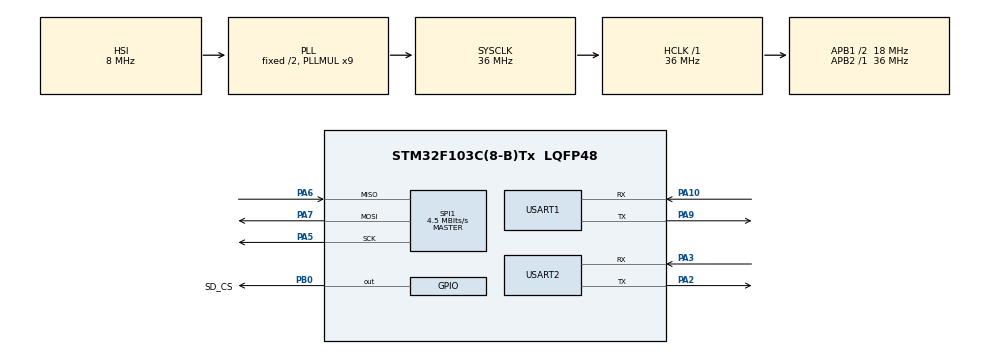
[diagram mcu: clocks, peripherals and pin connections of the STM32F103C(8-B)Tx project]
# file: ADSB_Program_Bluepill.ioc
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FATFS._MAX_SS=4096
FATFS._USE_LFN=1
Mcu.Family=STM32F1
Mcu.Name=STM32F103C(8-B)Tx
Mcu.Package=LQFP48
NVIC.PriorityGroup=NVIC_PRIORITYGROUP_4
PA10.Mode=Asynchronous
PA10.Signal=USART1_RX
PA13.Mode=Serial_Wire
PA13.Signal=SYS_JTMS-SWDIO
PA14.Mode=Serial_Wire
PA14.Signal=SYS_JTCK-SWCLK
PA2.Mode=Asynchronous
PA2.Signal=USART2_TX
PA3.Mode=Asynchronous
PA3.Signal=USART2_RX
PA5.Mode=Full_Duplex_Master
PA5.Signal=SPI1_SCK
PA6.Mode=Full_Duplex_Master
PA6.Signal=SPI1_MISO
PA7.Mode=Full_Duplex_Master
PA7.Signal=SPI1_MOSI
PA9.Mode=Asynchronous
PA9.Signal=USART1_TX
PB0.GPIO_Label=SD_CS
PB0.Signal=GPIO_Output
ProjectManager.HeapSize=0x200
ProjectManager.StackSize=0x400
ProjectManager.TargetToolchain=STM32CubeIDE
RCC.AHBFreq_Value=36000000
RCC.APB1CLKDivider=RCC_HCLK_DIV2
RCC.APB1Freq_Value=18000000
RCC.APB1TimFreq_Value=36000000
RCC.APB2Freq_Value=36000000
RCC.APB2TimFreq_Value=36000000
RCC.HCLKFreq_Value=36000000
RCC.PLLMUL=RCC_PLL_MUL9
RCC.SYSCLKFreq_VALUE=36000000
RCC.SYSCLKSource=RCC_SYSCLKSOURCE_PLLCLK
RCC.USBFreq_Value=36000000
SPI1.BaudRatePrescaler=SPI_BAUDRATEPRESCALER_8
SPI1.CalculateBaudRate=4.5 MBits/s
SPI1.Direction=SPI_DIRECTION_2LINES
SPI1.Mode=SPI_MODE_MASTER
SPI1.VirtualType=VM_MASTER
USART1.VirtualMode=VM_ASYNC
USART2.VirtualMode=VM_ASYNC
VP_FATFS_VS_Generic.Mode=User_defined
board=custom

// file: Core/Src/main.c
/* USER CODE BEGIN Header */
/**
  ******************************************************************************
  * @file           : main.c
  * @brief          : Main program body
  ******************************************************************************
  * @attention
  *
  * Copyright (c) 2022 STMicroelectronics.
  * All rights reserved.
  *
  * This software is licensed under terms that can be found in the LICENSE file
  * in the root directory of this software component.
  * If no LICENSE file comes with this software, it is provided AS-IS.
  *
  ******************************************************************************
  */
/* USER CODE END Header */
#include "main.h"
#include "fatfs.h"

/* USER CODE BEGIN Includes */
#include "fatfs_sd.h"
#include "string.h"
/* USER CODE END Includes */

SPI_HandleTypeDef hspi1;

UART_HandleTypeDef huart1;
UART_HandleTypeDef huart2;

void SystemClock_Config(void);
static void MX_GPIO_Init(void);
static void MX_SPI1_Init(void);
static void MX_USART2_UART_Init(void);
static void MX_USART1_UART_Init(void);

/* USER CODE BEGIN 0 */
FATFS fs;
FIL fil;
FRESULT fresult;
char buffer[1024];

void send_uart(char *string){
	uint8_t len = strlen(string);
	HAL_UART_Transmit(&huart1, (uint8_t *)string, len, 2000);
}

void bufclear(void){
	for(int i = 0; i<1024; i++){
		buffer[i] = '\0';
	}
}
/* USER CODE END 0 */

int main(void)
{

  /* MCU Configuration--------------------------------------------------------*/

  /* Reset of all peripherals, Initializes the Flash interface and the Systick. */
  HAL_Init();

  /* Configure the system clock */
  SystemClock_Config();

  /* Initialize all configured peripherals */
  MX_GPIO_Init();
  MX_SPI1_Init();
  MX_USART2_UART_Init();
  MX_FATFS_Init();
  MX_USART1_UART_Init();
  /* USER CODE BEGIN 2 */

  fresult = f_mount(&fs, "", 0);
  if(fresult != FR_OK)
	  send_uart("Error Mounting SD CARD...\n");
  else
	  send_uart("SD CARD mounted successfully...\n");

  f_open(&fil, "result.txt", FA_OPEN_ALWAYS | FA_READ | FA_WRITE);
  /* USER CODE END 2 */

  /* Infinite loop */
  /* USER CODE BEGIN WHILE */
  int loop = 0;
  while (loop < 50)
  {
    /* USER CODE END WHILE */
	  for(int i=0; i<256; i++)
	  	  	  {
	  	  		  buffer[i] = HAL_UART_Receive(&huart2, buffer, sizeof(buffer), 10);
	  	  		  if(buffer[i] == '\r\n')
	  	  			  break;
	  	  	  }
	  	  HAL_UART_Transmit(&huart1, buffer, sizeof(buffer), 10);
	  	  f_printf(&fil, "Receiver: '%s' \n\r", buffer);

	  	  bufclear();
	  	  loop++;
    /* USER CODE BEGIN 3 */
  }
  bufclear();

  HAL_Delay(2000);
  f_close(&fil);

  send_uart("The data is being written...\n");
  send_uart("Please wait 5-10 seconds before unplugging the SD Card\n");

  HAL_Delay(7000);
  send_uart("DONE...The data has successfully written in the SD Card\n");
  /* USER CODE END 3 */
}

void SystemClock_Config(void)
{
  RCC_OscInitTypeDef RCC_OscInitStruct = {0};
  RCC_ClkInitTypeDef RCC_ClkInitStruct = {0};

  /** Initializes the RCC Oscillators according to the specified parameters
  * in the RCC_OscInitTypeDef structure.
  */
  RCC_OscInitStruct.OscillatorType = RCC_OSCILLATORTYPE_HSI;
  RCC_OscInitStruct.HSIState = RCC_HSI_ON;
  RCC_OscInitStruct.HSICalibrationValue = RCC_HSICALIBRATION_DEFAULT;
  RCC_OscInitStruct.PLL.PLLState = RCC_PLL_ON;
  RCC_OscInitStruct.PLL.PLLSource = RCC_PLLSOURCE_HSI_DIV2;
  RCC_OscInitStruct.PLL.PLLMUL = RCC_PLL_MUL9;
  if (HAL_RCC_OscConfig(&RCC_OscInitStruct) != HAL_OK)
  {
    Error_Handler();
  }

  /** Initializes the CPU, AHB and APB buses clocks
  */
  RCC_ClkInitStruct.ClockType = RCC_CLOCKTYPE_HCLK|RCC_CLOCKTYPE_SYSCLK
                              |RCC_CLOCKTYPE_PCLK1|RCC_CLOCKTYPE_PCLK2;
  RCC_ClkInitStruct.SYSCLKSource = RCC_SYSCLKSOURCE_PLLCLK;
  RCC_ClkInitStruct.AHBCLKDivider = RCC_SYSCLK_DIV1;
  RCC_ClkInitStruct.APB1CLKDivider = RCC_HCLK_DIV2;
  RCC_ClkInitStruct.APB2CLKDivider = RCC_HCLK_DIV1;

  if (HAL_RCC_ClockConfig(&RCC_ClkInitStruct, FLASH_LATENCY_1) != HAL_OK)
  {
    Error_Handler();
  }
}

static void MX_SPI1_Init(void)
{

  /* SPI1 parameter configuration*/
  hspi1.Instance = SPI1;
  hspi1.Init.Mode = SPI_MODE_MASTER;
  hspi1.Init.Direction = SPI_DIRECTION_2LINES;
  hspi1.Init.DataSize = SPI_DATASIZE_8BIT;
  hspi1.Init.CLKPolarity = SPI_POLARITY_LOW;
  hspi1.Init.CLKPhase = SPI_PHASE_1EDGE;
  hspi1.Init.NSS = SPI_NSS_SOFT;
  hspi1.Init.BaudRatePrescaler = SPI_BAUDRATEPRESCALER_8;
  hspi1.Init.FirstBit = SPI_FIRSTBIT_MSB;
  hspi1.Init.TIMode = SPI_TIMODE_DISABLE;
  hspi1.Init.CRCCalculation = SPI_CRCCALCULATION_DISABLE;
  hspi1.Init.CRCPolynomial = 10;
  if (HAL_SPI_Init(&hspi1) != HAL_OK)
  {
    Error_Handler();
  }

}

static void MX_USART1_UART_Init(void)
{

  huart1.Instance = USART1;
  huart1.Init.BaudRate = 115200;
  huart1.Init.WordLength = UART_WORDLENGTH_8B;
  huart1.Init.StopBits = UART_STOPBITS_1;
  huart1.Init.Parity = UART_PARITY_NONE;
  huart1.Init.Mode = UART_MODE_TX_RX;
  huart1.Init.HwFlowCtl = UART_HWCONTROL_NONE;
  huart1.Init.OverSampling = UART_OVERSAMPLING_16;
  if (HAL_UART_Init(&huart1) != HAL_OK)
  {
    Error_Handler();
  }

}

static void MX_USART2_UART_Init(void)
{

  huart2.Instance = USART2;
  huart2.Init.BaudRate = 115200;
  huart2.Init.WordLength = UART_WORDLENGTH_8B;
  huart2.Init.StopBits = UART_STOPBITS_1;
  huart2.Init.Parity = UART_PARITY_NONE;
  huart2.Init.Mode = UART_MODE_TX_RX;
  huart2.Init.HwFlowCtl = UART_HWCONTROL_NONE;
  huart2.Init.OverSampling = UART_OVERSAMPLING_16;
  if (HAL_UART_Init(&huart2) != HAL_OK)
  {
    Error_Handler();
  }

}

static void MX_GPIO_Init(void)
{
  GPIO_InitTypeDef GPIO_InitStruct = {0};

  /* GPIO Ports Clock Enable */
  __HAL_RCC_GPIOA_CLK_ENABLE();
  __HAL_RCC_GPIOB_CLK_ENABLE();

  /*Configure GPIO pin Output Level */
  HAL_GPIO_WritePin(SD_CS_GPIO_Port, SD_CS_Pin, GPIO_PIN_RESET);

  /*Configure GPIO pin : SD_CS_Pin */
  GPIO_InitStruct.Pin = SD_CS_Pin;
  GPIO_InitStruct.Mode = GPIO_MODE_OUTPUT_PP;
  GPIO_InitStruct.Pull = GPIO_NOPULL;
  GPIO_InitStruct.Speed = GPIO_SPEED_FREQ_LOW;
  HAL_GPIO_Init(SD_CS_GPIO_Port, &GPIO_InitStruct);

}

void Error_Handler(void)
{
  __disable_irq();
  while (1)
  {
  }
}
